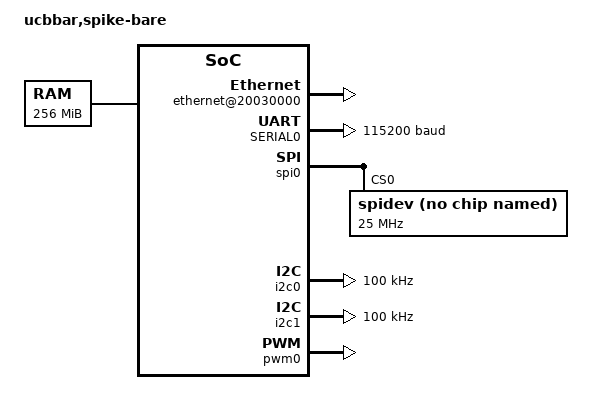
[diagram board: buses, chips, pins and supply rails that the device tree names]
/dts-v1/;

/ {
  #address-cells = <2>;
  #size-cells = <2>;
  compatible = "ucbbar,spike-bare-dev";
  model = "ucbbar,spike-bare";
  chosen {
    stdout-path = &SERIAL0;
    bootargs = "console=hvc0 earlycon";
  };

  cpus {
    #address-cells = <1>;
    #size-cells = <0>;

     timebase-frequency = <10000>;

    CPU0: cpu@0 {
      device_type = "cpu";
      reg = <0>;
      status = "okay";
      compatible = "riscv";
      riscv,isa = "rv32ima";
      mmu-type = "riscv,sv32";

      clock-frequency = <40000000>;

      CPU0_intc: interrupt-controller {
        #interrupt-cells = <1>;
        interrupt-controller;
        compatible = "riscv,cpu-intc";
      };
    };
  };
  memory@80000000 {
    device_type = "memory";
    reg = <0x0 0x80000000 0x0 0x10000000>; 
 
  };
  soc {
    #address-cells = <2>;
    #size-cells = <2>;
    compatible = "ucbbar,spike-bare-soc", "simple-bus";
    ranges;
    clint@20010000 {
      compatible = "riscv,clint0";
      interrupts-extended = <&CPU0_intc 3 &CPU0_intc 7>;

      reg = <0x0 0x20010000 0x0 0xc0000>;

    };
  
    ethernet@20030000 {
     			device_type = "network";
     			compatible = "cdac,cdac_mac"; 
     			interrupt-parent = <&plic0>;
     			interrupts = <4>;
     			reg = <0x0 0x20030000 0x0 0x100>;
  		};	

   plic0: interrupt-controller@20010000 {
	#interrupt-cells = <1>;
	compatible = "cdac,plic-1.0.0";
	reg = <0x0 0x20010000 0x0 0x4000000>;
	riscv,ndev = <32>;
	interrupt-controller;
	interrupts-extended = <&CPU0_intc 9>;
    };
    
    SERIAL0: ns16550@10001000{
      compatible = "ns16550a";
      clock-frequency = <40000000>;     
      reg = <0x0 0x10001000 0x0 0x100>;
      reg-io-width = <4>;
      reg-shift = <2>;
      current-speed = <115200>;
      
    };
    spi_clock:spi_clock{
			#clock-cells = <0>;
			compatible = "fixed-clock";
			clock-frequency = <40000000>;
		};
		
		spi0: spi@10000600 {
			compatible = "cdac,spi";
			clock-names = "spi_clock";
			clocks = <&spi_clock>;
			interrupt-parent = <&plic0>;
			interrupts = <6>;
			reg = <0x0 0x10000600 0x0 0x100 >;	
			#address-cells = <1>;
			#size-cells = <0>;
			spidev@0 {
				compatible = "cdac,spidev";
				reg = <0>;
				spi-max-frequency = <25000000>;
			};
		};
		gpio0: gpio-controller@10080000 {
			compatible = "cdac,cdac-gpio";
			reg = <0x0 0x10080000 0x0 0x50000>;
			gpio-base = <0>;
			gpio-controller;
			#gpio-cells = <2>;
		};
		
		gpio1: gpio-controller@10180000 {
			compatible = "cdac,cdac-gpio";
			reg = <0x0 0x10180000 0x0 0x50000>;
			gpio-base = <16>;
			gpio-controller;
			#gpio-cells = <2>;
		};
		
		i2c0: i2c@10000800 {
            		compatible = "cdac,mdp-i2c";
            	clock-frequency = <100000>;
           	 system-frequency = <40000000>;
            	#address-cells = <1>;
            	#size-cells = <0>;
            	reg = <0x0 0x10000800 0x0 0x100>;
            	interrupt-parent = <&plic0>;
            	interrupts = <8>;
            	status = "okay";
        };
    
       	 i2c1: i2c@10000900 {
            	compatible = "cdac,mdp-i2c";
            	clock-frequency = <100000>;
           	 system-frequency = <40000000>;
            	#address-cells = <1>;
          	  #size-cells = <0>;
          	  reg = <0x0 0x10000900 0x0 0x100>;
          	  interrupt-parent = <&plic0>;
           		 interrupts = <9>;
           	 status = "okay";

        };
        pwm_clock:pwm_clock{
            #clock-cells = <0>;
            compatible = "fixed-clock";
            clock-frequency = <40000000>;
        };
        pwm0: pwm@10400000 {
            compatible = "cdac,cdac-pwm";
            clock-names = "pwm_clock";
                clocks = <&pwm_clock>;
            reg = <0x0 0x10400000 0x0 0x100>;
            #pwm-cells = <3>;
            
        };
    
	


 };
 
 
 };
 
/*
    spi1: spi@30006000 {
        compatible = "xlnx,axi-quad-spi-3.2";
        reg = <0x0 0x30006000 0x0 0x100>;
        interrupt-parent = <&plic0>;
        interrupts = <7>;    
        spi-max-frequency = <25000000>;

        #address-cells = <1>;
        #size-cells = <0>;

        spidev@0 {
            compatible = "rohm,dh2228fv"; 
            reg = <0>;
            spi-max-frequency = <25000000>;
        };
    };


    i2c2: i2c@30001000 {
        compatible = "cdac,mdp-i2c";
        reg = <0x0 0x30001000 0x0 0x100>;
        interrupt-parent = <&plic0>;
        interrupts = <10>;   

        clock-frequency = <100000>;
        system-frequency = <40000000>;

        #address-cells = <1>;
        #size-cells = <0>;
        status = "okay";
    };
*/
 
 
 

